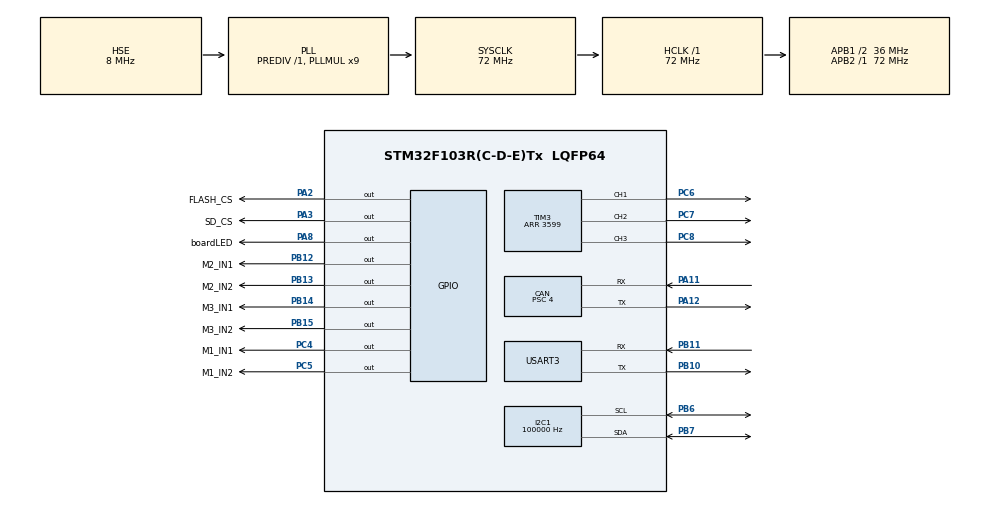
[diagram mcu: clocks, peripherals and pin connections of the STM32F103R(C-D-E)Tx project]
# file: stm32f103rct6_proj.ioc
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CAN.BS1=CAN_BS1_15TQ
CAN.BS2=CAN_BS2_2TQ
CAN.CalculateBaudRate=500000
CAN.CalculateTimeBit=2000
CAN.CalculateTimeQuantum=111.11111111111111
CAN.AutoBusOff=ENABLE
CAN.Prescaler=4
CAN.SJW=CAN_SJW_1TQ
FREERTOS.Tasks01=defaultTask,24,256,StartDefaultTask,Default,NULL,Dynamic,NULL,NULL
FREERTOS.configCHECK_FOR_STACK_OVERFLOW=2
FREERTOS.configTOTAL_HEAP_SIZE=16384
FREERTOS.configUSE_MALLOC_FAILED_HOOK=1
FREERTOS.configUSE_STATS_FORMATTING_FUNCTIONS=1
I2C1.ClockSpeed=100000
Mcu.Family=STM32F1
Mcu.Name=STM32F103R(C-D-E)Tx
Mcu.Package=LQFP64
NVIC.PriorityGroup=NVIC_PRIORITYGROUP_4
NVIC.TIM6_IRQn=true\:15\:0\:false\:false\:true\:false\:false\:true\:true
NVIC.TimeBase=TIM6_IRQn
NVIC.TimeBaseIP=TIM6
NVIC.USB_LP_CAN1_RX0_IRQn=true\:5\:0\:false\:false\:true\:true\:true\:true\:true
PA11.Mode=CAN_Activate
PA11.Signal=CAN_RX
PA12.Mode=CAN_Activate
PA12.Signal=CAN_TX
PA13.Mode=Serial_Wire
PA13.Signal=SYS_JTMS-SWDIO
PA14.Mode=Serial_Wire
PA14.Signal=SYS_JTCK-SWCLK
PA2.GPIO_Label=FLASH_CS
PA2.PinState=GPIO_PIN_SET
PA2.Signal=GPIO_Output
PA3.GPIO_Label=SD_CS
PA3.PinState=GPIO_PIN_SET
PA3.Signal=GPIO_Output
PA8.GPIO_Label=boardLED
PA8.PinState=GPIO_PIN_RESET
PA8.Signal=GPIO_Output
PB10.Mode=Asynchronous
PB10.Signal=USART3_TX
PB11.Mode=Asynchronous
PB11.Signal=USART3_RX
PB12.GPIO_Label=M2_IN1
PB12.Signal=GPIO_Output
PB13.GPIO_Label=M2_IN2
PB13.Signal=GPIO_Output
PB14.GPIO_Label=M3_IN1
PB14.Signal=GPIO_Output
PB15.GPIO_Label=M3_IN2
PB15.Signal=GPIO_Output
PB6.Mode=I2C
PB6.Signal=I2C1_SCL
PB7.Mode=I2C
PB7.Signal=I2C1_SDA
PC4.GPIO_Label=M1_IN1
PC4.Signal=GPIO_Output
PC5.GPIO_Label=M1_IN2
PC5.Signal=GPIO_Output
PC6.Signal=S_TIM3_CH1
PC7.Signal=S_TIM3_CH2
PC8.Signal=S_TIM3_CH3
PD0-OSC_IN.Mode=HSE-External-Oscillator
PD0-OSC_IN.Signal=RCC_OSC_IN
PD1-OSC_OUT.Mode=HSE-External-Oscillator
PD1-OSC_OUT.Signal=RCC_OSC_OUT
ProjectManager.HeapSize=0x200
ProjectManager.StackSize=0x400
ProjectManager.TargetToolchain=CMake
RCC.AHBFreq_Value=72000000
RCC.APB1CLKDivider=RCC_HCLK_DIV2
RCC.APB1Freq_Value=36000000
RCC.APB1TimFreq_Value=72000000
RCC.APB2Freq_Value=72000000
RCC.APB2TimFreq_Value=72000000
RCC.HCLKFreq_Value=72000000
RCC.PLLMUL=RCC_PLL_MUL9
RCC.PLLSourceVirtual=RCC_PLLSOURCE_HSE
RCC.SYSCLKFreq_VALUE=72000000
RCC.SYSCLKSource=RCC_SYSCLKSOURCE_PLLCLK
RCC.USBFreq_Value=72000000
SH.S_TIM3_CH1.0=TIM3_CH1,PWM Generation1 CH1
SH.S_TIM3_CH2.0=TIM3_CH2,PWM Generation2 CH2
SH.S_TIM3_CH3.0=TIM3_CH3,PWM Generation3 CH3
TIM3.AutoReloadPreload=TIM_AUTORELOAD_PRELOAD_ENABLE
TIM3.Channel-PWM\ Generation1\ CH1=TIM_CHANNEL_1
TIM3.Channel-PWM\ Generation2\ CH2=TIM_CHANNEL_2
TIM3.Channel-PWM\ Generation3\ CH3=TIM_CHANNEL_3
TIM3.Period=3599
USART3.VirtualMode=VM_ASYNC
VP_FREERTOS_VS_CMSIS_V2.Mode=CMSIS_V2
VP_SYS_VS_tim6.Mode=TIM6
VP_TIM3_VS_ClockSourceINT.Mode=Internal
board=custom

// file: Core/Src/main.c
/* USER CODE BEGIN Header */
/**
  ******************************************************************************
  * @file           : main.c
  * @brief          : Main program body
  ******************************************************************************
  * @attention
  *
  * Copyright (c) 2026 STMicroelectronics.
  * All rights reserved.
  *
  * This software is licensed under terms that can be found in the LICENSE file
  * in the root directory of this software component.
  * If no LICENSE file comes with this software, it is provided AS-IS.
  *
  ******************************************************************************
  */
/* USER CODE END Header */
#include "main.h"
#include "cmsis_os.h"
#include "can.h"
#include "i2c.h"
#include "tim.h"
#include "usart.h"
#include "gpio.h"

void SystemClock_Config(void);
void MX_FREERTOS_Init(void);

int main(void)
{

  /* MCU Configuration--------------------------------------------------------*/

  /* Reset of all peripherals, Initializes the Flash interface and the Systick. */
  HAL_Init();

  /* Configure the system clock */
  SystemClock_Config();

  /* Initialize all configured peripherals */
  MX_GPIO_Init();
  MX_USART3_UART_Init();
  MX_TIM3_Init();
  MX_CAN_Init();
  MX_I2C1_Init();

  /* Init scheduler */
  osKernelInitialize();  /* Call init function for freertos objects (in cmsis_os2.c) */
  MX_FREERTOS_Init();

  /* Start scheduler */
  osKernelStart();

  /* We should never get here as control is now taken by the scheduler */

  /* Infinite loop */
  while (1)
  {

  }
}

void SystemClock_Config(void)
{
  RCC_OscInitTypeDef RCC_OscInitStruct = {0};
  RCC_ClkInitTypeDef RCC_ClkInitStruct = {0};

  /** Initializes the RCC Oscillators according to the specified parameters
  * in the RCC_OscInitTypeDef structure.
  */
  RCC_OscInitStruct.OscillatorType = RCC_OSCILLATORTYPE_HSE;
  RCC_OscInitStruct.HSEState = RCC_HSE_ON;
  RCC_OscInitStruct.HSEPredivValue = RCC_HSE_PREDIV_DIV1;
  RCC_OscInitStruct.HSIState = RCC_HSI_ON;
  RCC_OscInitStruct.PLL.PLLState = RCC_PLL_ON;
  RCC_OscInitStruct.PLL.PLLSource = RCC_PLLSOURCE_HSE;
  RCC_OscInitStruct.PLL.PLLMUL = RCC_PLL_MUL9;
  if (HAL_RCC_OscConfig(&RCC_OscInitStruct) != HAL_OK)
  {
    Error_Handler();
  }

  /** Initializes the CPU, AHB and APB buses clocks
  */
  RCC_ClkInitStruct.ClockType = RCC_CLOCKTYPE_HCLK|RCC_CLOCKTYPE_SYSCLK
                              |RCC_CLOCKTYPE_PCLK1|RCC_CLOCKTYPE_PCLK2;
  RCC_ClkInitStruct.SYSCLKSource = RCC_SYSCLKSOURCE_PLLCLK;
  RCC_ClkInitStruct.AHBCLKDivider = RCC_SYSCLK_DIV1;
  RCC_ClkInitStruct.APB1CLKDivider = RCC_HCLK_DIV2;
  RCC_ClkInitStruct.APB2CLKDivider = RCC_HCLK_DIV1;

  if (HAL_RCC_ClockConfig(&RCC_ClkInitStruct, FLASH_LATENCY_2) != HAL_OK)
  {
    Error_Handler();
  }
}

void HAL_TIM_PeriodElapsedCallback(TIM_HandleTypeDef *htim)
{
  if (htim->Instance == TIM6)
  {
    HAL_IncTick();
  }
}

void Error_Handler(void)
{
  __disable_irq();
  while (1)
  {
  }
}

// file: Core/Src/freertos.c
/* USER CODE BEGIN Header */
/**
  ******************************************************************************
  * File Name          : freertos.c
  * Description        : Code for freertos applications
  ******************************************************************************
  * @attention
  *
  * Copyright (c) 2026 STMicroelectronics.
  * All rights reserved.
  *
  * This software is licensed under terms that can be found in the LICENSE file
  * in the root directory of this software component.
  * If no LICENSE file comes with this software, it is provided AS-IS.
  *
  ******************************************************************************
  */
/* USER CODE END Header */

#include "FreeRTOS.h"
#include "task.h"
#include "main.h"
#include "cmsis_os.h"

/* USER CODE BEGIN Includes */
#include "App/cmd_handler/app_cmd_handler.h"
#include "App/main/app_main.h"
#include "BSP/uart/uart.h"
#include "Middleware/log/log.h"
/* USER CODE END Includes */

/* Definitions for defaultTask */
osThreadId_t defaultTaskHandle;
const osThreadAttr_t defaultTask_attributes = {
  .name = "defaultTask",
  .stack_size = 256 * 4,
  .priority = (osPriority_t) osPriorityNormal,
};

void StartDefaultTask(void *argument);

void MX_FREERTOS_Init(void); /* (MISRA C 2004 rule 8.1) */

/* Hook prototypes */
void vApplicationStackOverflowHook(xTaskHandle xTask, signed char *pcTaskName);
void vApplicationMallocFailedHook(void);

/* USER CODE BEGIN 4 */
void vApplicationStackOverflowHook(xTaskHandle xTask, signed char *pcTaskName)
{
   /* Run time stack overflow checking is performed if
   configCHECK_FOR_STACK_OVERFLOW is defined to 1 or 2. This hook function is
   called if a stack overflow is detected. */
  (void)xTask;
  (void)pcTaskName;
  taskDISABLE_INTERRUPTS();
  for (;;)
  {
  }
}
/* USER CODE END 4 */

/* USER CODE BEGIN 5 */
void vApplicationMallocFailedHook(void)
{
   /* vApplicationMallocFailedHook() will only be called if
   configUSE_MALLOC_FAILED_HOOK is set to 1 in FreeRTOSConfig.h. It is a hook
   function that will get called if a call to pvPortMalloc() fails.
   pvPortMalloc() is called internally by the kernel whenever a task, queue,
   timer or semaphore is created. It is also called by various parts of the
   demo application. If heap_1.c or heap_2.c are used, then the size of the
   heap available to pvPortMalloc() is defined by configTOTAL_HEAP_SIZE in
   FreeRTOSConfig.h, and the xPortGetFreeHeapSize() API function can be used
   to query the size of free heap space that remains (although it does not
   provide information on how the remaining heap might be fragmented). */
  taskDISABLE_INTERRUPTS();
  for (;;)
  {
  }
}
/* USER CODE END 5 */

void MX_FREERTOS_Init(void) {
  /* USER CODE BEGIN Init */
  /* osKernelInitialize() 已执行，可安全创建 BSP 使用的 FreeRTOS 队列。 */
  App_Init();
  /* USER CODE END Init */

  /* Create the thread(s) */
  /* creation of defaultTask */
  defaultTaskHandle = osThreadNew(StartDefaultTask, NULL, &defaultTask_attributes);

  /* USER CODE BEGIN RTOS_THREADS */
  /* add threads, ... */
  {
    osThreadId_t canTaskHandle;
    osThreadId_t logTaskHandle;
    static const osThreadAttr_t canTask_attributes = {
      .name = "canTask",
      .stack_size = 256 * 4,
      .priority = (osPriority_t) osPriorityNormal,
    };
    static const osThreadAttr_t logTask_attributes = {
      .name = "logTask",
      .stack_size = 192 * 4,
      .priority = (osPriority_t) osPriorityLow,
    };
    if (defaultTaskHandle != NULL)
    {
      LOG_INFO("defaultTask created, stack=1024 bytes");
    }
    else
    {
      LOG_ERROR("defaultTask creation failed");
    }

    logTaskHandle = osThreadNew(Log_Task, NULL, &logTask_attributes);
    if (logTaskHandle != NULL)
    {
      LOG_INFO("logTask created, stack=768 bytes, period=200 ms");
    }
    else
    {
      (void)BSP_UART_Printf("[0] [ERROR] logTask creation failed\r\n");
    }

    canTaskHandle = osThreadNew(App_CmdHandler_Task, NULL, &canTask_attributes);
    if (canTaskHandle != NULL)
    {
      LOG_INFO("canTask created, stack=1024 bytes");
    }
    else
    {
      LOG_ERROR("canTask creation failed");
    }
  }
  /* USER CODE END RTOS_THREADS */

}

void StartDefaultTask(void *argument)
{
  /* USER CODE BEGIN StartDefaultTask */
  (void)argument;
  LOG_INFO("default task entered");
  /* Infinite loop */
  for(;;)
  {
    App_Loop();
  }
  /* USER CODE END StartDefaultTask */
}
